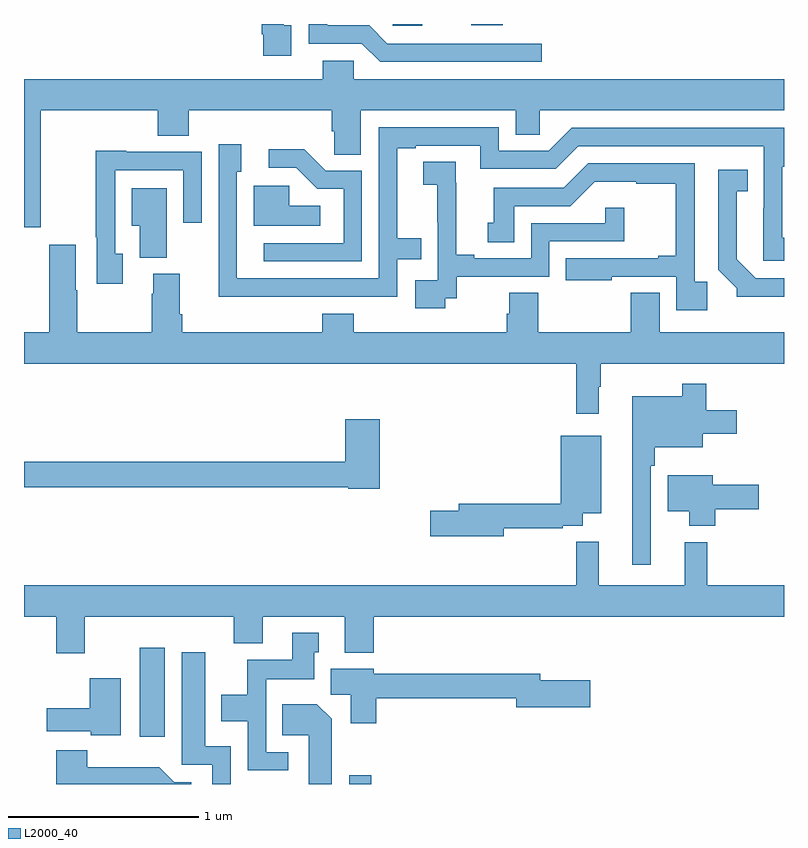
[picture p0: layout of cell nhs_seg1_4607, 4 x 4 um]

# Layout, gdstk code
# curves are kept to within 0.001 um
import gdstk
lib = gdstk.Library(unit=1e-6, precision=1e-09)
def R(c, l, rs):  # rectangles x0, y0, x1, y1
    for r in rs: c.add(gdstk.rectangle(r[:2], r[2:], *l))
def P(c, l, *ps):  # polygons
    for p in ps: c.add(gdstk.Polygon(p, *l))
L2000_40 = (2000, 40)

nhs_seg1_4607 = lib.new_cell('nhs_seg1_4607')
R(nhs_seg1_4607, L2000_40, [(362.712,536.199,362.828,536.245), (361.61,536.448,361.741,536.917), (362.942,540.191,363.097,540.199), (363.353,540.192,363.52,540.199)])
P(nhs_seg1_4607, L2000_40, [(363.724,540.096),(362.913,540.096),(362.817,540.192),(362.595,540.192),(362.595,540.199),(362.498,540.199),(362.498,540.096),(362.778,540.096),(362.874,540),(363.724,540)],
  [(362.407,540.193),(362.367,540.193),(362.367,540.199),(362.251,540.199),(362.251,540.145),(362.259,540.145),(362.259,540.033),(362.407,540.033)],
  [(361.087,539.744),(361.703,539.744),(361.703,539.611),(361.868,539.611),(361.868,539.744),(362.621,539.744),(362.621,539.635),(362.634,539.635),(362.634,539.512),(362.773,539.512),(362.773,539.744),(363.587,539.744),(363.587,539.617),(363.714,539.617),(363.714,539.744),(365,539.744),(365,539.908),(362.736,539.908),(362.736,540.006),(362.573,540.006),(362.573,539.908),(361,539.908),(361,539.13),(361.087,539.13)],
  [(362.486,538.764),(362.964,538.764),(362.964,538.962),(363.092,538.962),(363.092,539.071),(362.965,539.071),(362.965,539.544),(363.061,539.544),(363.061,539.559),(363.402,539.559),(363.402,539.436),(363.798,539.436),(363.918,539.556),(364.893,539.556),(364.892,538.953),(365,538.953),(365,539.073),(364.992,539.073),(364.992,539.449),(365,539.449),(365,539.652),(363.882,539.652),(363.762,539.532),(363.498,539.532),(363.498,539.655),(362.868,539.655),(362.868,538.86),(362.121,538.86),(362.121,539.421),(362.143,539.421),(362.143,539.566),(362.025,539.566),(362.024,538.763)],
  [(362.778,539.427),(362.589,539.427),(362.476,539.54),(362.289,539.54),(362.289,539.442),(362.433,539.442),(362.544,539.331),(362.682,539.331),(362.682,539.046),(362.262,539.046),(362.262,538.95),(362.778,538.95)],
  [(361.519,538.989),(361.479,538.989),(361.479,539.43),(361.839,539.43),(361.839,539.154),(361.935,539.154),(361.935,539.526),(361.539,539.526),(361.539,539.533),(361.378,539.533),(361.378,539.077),(361.383,539.077),(361.383,538.833),(361.519,538.833)],
  [(363.216,538.755),(363.278,538.755),(363.278,538.869),(363.765,538.869),(363.765,539.055),(364.16,539.055),(364.16,539.233),(364.059,539.233),(364.059,539.151),(363.669,539.151),(363.669,538.965),(363.37,538.965),(363.37,538.985),(363.274,538.985),(363.274,539.363),(363.272,539.363),(363.272,539.474),(363.102,539.474),(363.102,539.353),(363.176,539.353),(363.176,539.155),(363.177,539.155),(363.177,538.851),(363.06,538.851),(363.06,538.704),(363.216,538.704)],
  [(364.595,538.843),(364.53,538.843),(364.53,539.466),(363.969,539.466),(363.84,539.337),(363.473,539.337),(363.473,539.154),(363.44,539.154),(363.44,539.05),(363.58,539.05),(363.58,539.241),(363.876,539.241),(364.004,539.369),(364.223,539.369),(364.223,539.358),(364.429,539.358),(364.429,538.978),(364.337,538.978),(364.337,538.965),(363.85,538.965),(363.85,538.85),(364.093,538.85),(364.093,538.869),(364.434,538.869),(364.434,538.692),(364.595,538.692)],
  [(365,538.86),(364.851,538.86),(364.75,538.961),(364.75,539.318),(364.808,539.318),(364.808,539.431),(364.653,539.431),(364.653,538.906),(364.752,538.807),(364.752,538.763),(365,538.763)],
  [(362.56,539.242),(362.397,539.242),(362.397,539.349),(362.21,539.349),(362.21,539.138),(362.56,539.138)],
  [(361.75,539.335),(361.568,539.335),(361.568,539.138),(361.61,539.138),(361.61,538.969),(361.75,538.969)],
  [(364.024,538.289),(364.036,538.289),(364.036,538.412),(365,538.412),(365,538.576),(364.345,538.576),(364.345,538.784),(364.193,538.784),(364.193,538.576),(363.707,538.576),(363.707,538.784),(363.554,538.784),(363.554,538.674),(363.542,538.674),(363.542,538.576),(362.735,538.576),(362.735,538.675),(362.57,538.675),(362.57,538.576),(361.832,538.576),(361.832,538.672),(361.819,538.672),(361.819,538.884),(361.679,538.884),(361.679,538.778),(361.672,538.778),(361.672,538.576),(361.281,538.576),(361.281,538.799),(361.273,538.799),(361.273,539.038),(361.133,539.038),(361.133,538.576),(361,538.576),(361,538.412),(363.907,538.412),(363.907,538.149),(364.024,538.149)],
  [(364.299,537.875),(364.319,537.875),(364.319,537.971),(364.573,537.971),(364.573,538.043),(364.75,538.043),(364.75,538.165),(364.592,538.165),(364.592,538.306),(364.464,538.306),(364.464,538.24),(364.202,538.24),(364.202,537.354),(364.299,537.354)],
  [(362.873,538.12),(362.69,538.12),(362.69,537.896),(361,537.896),(361,537.76),(362.706,537.76),(362.706,537.752),(362.873,537.752)],
  [(363.526,537.546),(363.836,537.546),(363.836,537.558),(363.94,537.558),(363.94,537.623),(364.039,537.623),(364.039,538.033),(363.824,538.033),(363.824,537.674),(363.287,537.674),(363.287,537.638),(363.138,537.638),(363.138,537.503),(363.526,537.503)],
  [(364.637,537.646),(364.867,537.646),(364.867,537.775),(364.624,537.775),(364.624,537.823),(364.388,537.823),(364.388,537.635),(364.502,537.635),(364.502,537.557),(364.637,537.557)],
  [(361.321,537.08),(362.105,537.08),(362.105,536.939),(362.257,536.939),(362.257,537.08),(362.687,537.08),(362.687,536.891),(362.84,536.891),(362.84,537.08),(365,537.08),(365,537.244),(364.595,537.244),(364.595,537.472),(364.478,537.472),(364.478,537.244),(364.025,537.244),(364.025,537.473),(363.907,537.473),(363.907,537.244),(361,537.244),(361,537.08),(361.169,537.08),(361.169,536.886),(361.321,536.886)],
  [(362.392,536.367),(362.274,536.367),(362.274,536.75),(362.527,536.75),(362.527,536.892),(362.551,536.892),(362.551,536.995),(362.411,536.995),(362.411,536.854),(362.176,536.854),(362.176,536.668),(362.039,536.668),(362.039,536.528),(362.178,536.528),(362.178,536.271),(362.392,536.271)],
  [(362.088,536.398),(361.954,536.398),(361.954,536.893),(361.829,536.893),(361.829,536.301),(361.992,536.301),(361.992,536.199),(362.088,536.199)],
  [(362.855,536.65),(363.59,536.65),(363.59,536.603),(363.979,536.603),(363.979,536.745),(363.718,536.745),(363.718,536.779),(362.842,536.779),(362.842,536.806),(362.615,536.806),(362.615,536.668),(362.72,536.668),(362.72,536.52),(362.855,536.52)],
  [(361.51,536.755),(361.346,536.755),(361.346,536.599),(361.119,536.599),(361.119,536.477),(361.35,536.477),(361.35,536.456),(361.51,536.456)],
  [(362.62,536.542),(362.542,536.62),(362.359,536.62),(362.359,536.456),(362.498,536.456),(362.498,536.199),(362.62,536.199)],
  [(361.879,536.208),(361.791,536.208),(361.713,536.287),(361.334,536.287),(361.334,536.377),(361.169,536.377),(361.169,536.199),(361.879,536.199)])

lib.write_gds('nhs_seg1_4607.gds')
